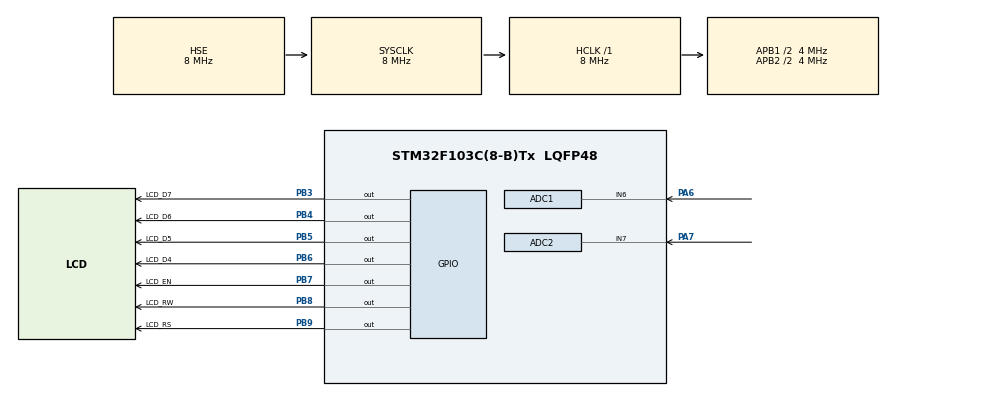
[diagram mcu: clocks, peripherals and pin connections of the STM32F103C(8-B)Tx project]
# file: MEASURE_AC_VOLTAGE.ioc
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ADC1.Channel-0\#ChannelRegularConversion=ADC_CHANNEL_6
ADC1.ContinuousConvMode=ENABLE
ADC1.Mode=ADC_DUALMODE_REGSIMULT
ADC1.NbrOfConversion=1
ADC1.NbrOfConversionFlag=1
ADC1.Rank-0\#ChannelRegularConversion=1
ADC1.SamplingTime-0\#ChannelRegularConversion=ADC_SAMPLETIME_239CYCLES_5
ADC1.master=1
ADC2.Channel-0\#ChannelRegularConversion=ADC_CHANNEL_7
ADC2.ContinuousConvMode=ENABLE
ADC2.Mode=ADC_DUALMODE_REGSIMULT
ADC2.NbrOfConversionFlag=1
ADC2.Rank-0\#ChannelRegularConversion=1
ADC2.SamplingTime-0\#ChannelRegularConversion=ADC_SAMPLETIME_239CYCLES_5
Dma.ADC1.0.Direction=DMA_PERIPH_TO_MEMORY
Dma.ADC1.0.Instance=DMA1_Channel1
Dma.ADC1.0.MemDataAlignment=DMA_MDATAALIGN_WORD
Dma.ADC1.0.MemInc=DMA_MINC_ENABLE
Dma.ADC1.0.Mode=DMA_CIRCULAR
Dma.ADC1.0.PeriphDataAlignment=DMA_PDATAALIGN_WORD
Dma.ADC1.0.PeriphInc=DMA_PINC_DISABLE
Dma.ADC1.0.Priority=DMA_PRIORITY_LOW
Dma.Request0=ADC1
Mcu.Family=STM32F1
Mcu.Name=STM32F103C(8-B)Tx
Mcu.Package=LQFP48
NVIC.DMA1_Channel1_IRQn=true\:0\:0\:false\:false\:true\:false\:true\:true
NVIC.PriorityGroup=NVIC_PRIORITYGROUP_4
NVIC.TIM2_IRQn=true\:0\:0\:false\:false\:true\:true\:true\:true
PA13.Mode=Serial_Wire
PA13.Signal=SYS_JTMS-SWDIO
PA14.Mode=Serial_Wire
PA14.Signal=SYS_JTCK-SWCLK
PA6.Signal=ADCx_IN6
PA7.Signal=ADCx_IN7
PB3.GPIO_Label=LCD_D7
PB3.Signal=GPIO_Output
PB4.GPIO_Label=LCD_D6
PB4.Signal=GPIO_Output
PB5.GPIO_Label=LCD_D5
PB5.Signal=GPIO_Output
PB6.GPIO_Label=LCD_D4
PB6.Signal=GPIO_Output
PB7.GPIO_Label=LCD_EN
PB7.Signal=GPIO_Output
PB8.GPIO_Label=LCD_RW
PB8.Signal=GPIO_Output
PB9.GPIO_Label=LCD_RS
PB9.Signal=GPIO_Output
PD0-OSC_IN.Mode=HSE-External-Oscillator
PD0-OSC_IN.Signal=RCC_OSC_IN
PD1-OSC_OUT.Mode=HSE-External-Oscillator
PD1-OSC_OUT.Signal=RCC_OSC_OUT
ProjectManager.HeapSize=0x200
ProjectManager.StackSize=0x400
ProjectManager.TargetToolchain=STM32CubeIDE
RCC.ADCPresc=RCC_ADCPCLK2_DIV8
RCC.AHBFreq_Value=8000000
RCC.APB1CLKDivider=RCC_HCLK_DIV2
RCC.APB1Freq_Value=4000000
RCC.APB1TimFreq_Value=8000000
RCC.APB2CLKDivider=RCC_HCLK_DIV2
RCC.APB2Freq_Value=4000000
RCC.APB2TimFreq_Value=8000000
RCC.HCLKFreq_Value=8000000
RCC.PLLSourceVirtual=RCC_PLLSOURCE_HSE
RCC.SYSCLKFreq_VALUE=8000000
RCC.SYSCLKSource=RCC_SYSCLKSOURCE_HSE
RCC.USBFreq_Value=16000000
SH.ADCx_IN6.0=ADC1_IN6,IN6
SH.ADCx_IN7.0=ADC2_IN7,IN7
VP_TIM2_VS_ClockSourceINT.Mode=Internal
board=custom

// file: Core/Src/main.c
/* USER CODE BEGIN Header */
/**
  ******************************************************************************
  * @file           : main.c
  * @brief          : Main program body
  ******************************************************************************
  * @attention
  *
  * Copyright (c) 2023 STMicroelectronics.
  * All rights reserved.
  *
  * This software is licensed under terms that can be found in the LICENSE file
  * in the root directory of this software component.
  * If no LICENSE file comes with this software, it is provided AS-IS.
  *
  ******************************************************************************
  */
/* USER CODE END Header */
#include "main.h"

/* USER CODE BEGIN Includes */
#include "LCD.h"
#include "stdio.h"
#include "math.h"
/* USER CODE END Includes */

/* USER CODE BEGIN PD */
#define VOLT_GAIN		2670
#define CURR_GAIN		84.5

#define ADC_CALC		0.000805586 //3.3 / 4096

#define VOLT_OFFSET		1.6915
#define CURR_OFFSET		2.5111

#define SAMPLE			18
#define SUM_VALUE		44
/* USER CODE END PD */

ADC_HandleTypeDef hadc1;
ADC_HandleTypeDef hadc2;
DMA_HandleTypeDef hdma_adc1;

TIM_HandleTypeDef htim2;

/* USER CODE BEGIN PV */
LCD_HandleTypeDef LCD;
LCD_GPIOTypeDef LCD_GPIO;
LCD_SizeTypeDef LCD_Size;
uint32_t adc_value[1];
uint16_t u_t;
uint16_t i_t;

uint8_t is_mili = 0;

float curr_sum = 0;
float volt_sum = 0;
float volt_avg = 0;
float curr_avg = 0;
float Vrms = 0;
float Irms = 0;
float temp_curr = 0;
float temp_volt = 0;

uint8_t sample_count = 0;
uint8_t sum_count = 0;

char lcd_msg[50] = {};
/* USER CODE END PV */

void SystemClock_Config(void);
static void MX_GPIO_Init(void);
static void MX_DMA_Init(void);
static void MX_ADC1_Init(void);
static void MX_ADC2_Init(void);
static void MX_TIM2_Init(void);

/* USER CODE BEGIN 0 */
void HAL_ADC_ConvCpltCallback(ADC_HandleTypeDef* hadc)
{
	u_t = (adc_value[0] >> 16);
	i_t = (adc_value[0] & 0x0000ffff);
//	 sample_count++;
//
//	 volt_sum += (adc_scan_value[1] * ADC_CALC - VOLT_OFFSET);
//	 curr_sum += (adc_scan_value[0] * CALC - CURR_OFFSET);
//
//	 if (sample_count == SAMPLE)
//	 {
//		 sum_count++;
//
//		 volt_sum = volt_sum / SAMPLE;
//		 curr_sum = curr_sum / SAMPLE;
//
//		 volt_avg += (volt_sum * volt_sum);
//		 curr_avg += (curr_sum * curr_sum);
//
//		 sample_count = 0;
//	 }
//	 if (sum_count == SUM_VALUE)
//	 {
//		 temp_curr = sqrt(curr_avg / SUM_VALUE);
//		 temp_volt = sqrt(volt_avg / SUM_VALUE);
//		 Vrms = (sqrt(volt_avg / SUM_VALUE)) * VOLT_GAIN;
//		 Irms = (sqrt(curr_avg / SUM_VALUE)) * CURR_GAIN;
//
//		 sum_count = 0;
//		 sample_count = 0;
//		 volt_sum = 0;
//		 volt_avg = 0;
//		 curr_sum = 0;
//		 curr_avg = 0;
//	 }
}

/* USER CODE END 0 */

int main(void)
{

  /* MCU Configuration--------------------------------------------------------*/

  /* Reset of all peripherals, Initializes the Flash interface and the Systick. */
  HAL_Init();

  /* Configure the system clock */
  SystemClock_Config();

  /* Initialize all configured peripherals */
  MX_GPIO_Init();
  MX_DMA_Init();
  MX_ADC1_Init();
  MX_ADC2_Init();
  MX_TIM2_Init();
  /* USER CODE BEGIN 2 */
  LCD_GPIO.LCD_RS_PIN = LCD_RS_Pin;
  LCD_GPIO.LCD_RW_PIN = LCD_RW_Pin;
  LCD_GPIO.LCD_EN_PIN = LCD_EN_Pin;
  LCD_GPIO.LCD_D4_PIN = LCD_D4_Pin;
  LCD_GPIO.LCD_D5_PIN = LCD_D5_Pin;
  LCD_GPIO.LCD_D6_PIN = LCD_D6_Pin;
  LCD_GPIO.LCD_D7_PIN = LCD_D7_Pin;

  LCD_Size.LCD_column = 16;
  LCD_Size.LCD_row    = 2;

  LCD_Init(&LCD, GPIOB, LCD_GPIO, LCD_Size);
  HAL_ADCEx_Calibration_Start(&hadc1);
  HAL_ADCEx_Calibration_Start(&hadc2);
  HAL_Delay(10);
  HAL_ADC_Start(&hadc2);
  HAL_ADCEx_MultiModeStart_DMA(&hadc1, adc_value, 1);
  /* USER CODE END 2 */

  /* Infinite loop */
  while (1)
  {

    /* USER CODE BEGIN 3 */

	  LCD_SetCursor(&LCD, 0, 0);
	  sprintf(lcd_msg, "Voltage: %03d.%02dV", (uint8_t)Vrms, (uint16_t)(Vrms*100) % 100);
	  LCD_SendString(&LCD, lcd_msg);
	  LCD_SetCursor(&LCD, 0, 1);
	  sprintf(lcd_msg, "Current: %01d.%04dA", (uint8_t)Irms, (uint16_t)(Irms*10000) % 10000);
	  LCD_SendString(&LCD, lcd_msg);
  }
  /* USER CODE END 3 */
}

void SystemClock_Config(void)
{
  RCC_OscInitTypeDef RCC_OscInitStruct = {0};
  RCC_ClkInitTypeDef RCC_ClkInitStruct = {0};
  RCC_PeriphCLKInitTypeDef PeriphClkInit = {0};

  /** Initializes the RCC Oscillators according to the specified parameters
  * in the RCC_OscInitTypeDef structure.
  */
  RCC_OscInitStruct.OscillatorType = RCC_OSCILLATORTYPE_HSE;
  RCC_OscInitStruct.HSEState = RCC_HSE_ON;
  RCC_OscInitStruct.PLL.PLLState = RCC_PLL_NONE;
  if (HAL_RCC_OscConfig(&RCC_OscInitStruct) != HAL_OK)
  {
    Error_Handler();
  }

  /** Initializes the CPU, AHB and APB buses clocks
  */
  RCC_ClkInitStruct.ClockType = RCC_CLOCKTYPE_HCLK|RCC_CLOCKTYPE_SYSCLK
                              |RCC_CLOCKTYPE_PCLK1|RCC_CLOCKTYPE_PCLK2;
  RCC_ClkInitStruct.SYSCLKSource = RCC_SYSCLKSOURCE_HSE;
  RCC_ClkInitStruct.AHBCLKDivider = RCC_SYSCLK_DIV1;
  RCC_ClkInitStruct.APB1CLKDivider = RCC_HCLK_DIV2;
  RCC_ClkInitStruct.APB2CLKDivider = RCC_HCLK_DIV2;

  if (HAL_RCC_ClockConfig(&RCC_ClkInitStruct, FLASH_LATENCY_0) != HAL_OK)
  {
    Error_Handler();
  }
  PeriphClkInit.PeriphClockSelection = RCC_PERIPHCLK_ADC;
  PeriphClkInit.AdcClockSelection = RCC_ADCPCLK2_DIV8;
  if (HAL_RCCEx_PeriphCLKConfig(&PeriphClkInit) != HAL_OK)
  {
    Error_Handler();
  }
}

static void MX_ADC1_Init(void)
{

  ADC_MultiModeTypeDef multimode = {0};
  ADC_ChannelConfTypeDef sConfig = {0};

  /** Common config
  */
  hadc1.Instance = ADC1;
  hadc1.Init.ScanConvMode = ADC_SCAN_DISABLE;
  hadc1.Init.ContinuousConvMode = ENABLE;
  hadc1.Init.DiscontinuousConvMode = DISABLE;
  hadc1.Init.ExternalTrigConv = ADC_SOFTWARE_START;
  hadc1.Init.DataAlign = ADC_DATAALIGN_RIGHT;
  hadc1.Init.NbrOfConversion = 1;
  if (HAL_ADC_Init(&hadc1) != HAL_OK)
  {
    Error_Handler();
  }

  /** Configure the ADC multi-mode
  */
  multimode.Mode = ADC_DUALMODE_REGSIMULT;
  if (HAL_ADCEx_MultiModeConfigChannel(&hadc1, &multimode) != HAL_OK)
  {
    Error_Handler();
  }

  /** Configure Regular Channel
  */
  sConfig.Channel = ADC_CHANNEL_6;
  sConfig.Rank = ADC_REGULAR_RANK_1;
  sConfig.SamplingTime = ADC_SAMPLETIME_239CYCLES_5;
  if (HAL_ADC_ConfigChannel(&hadc1, &sConfig) != HAL_OK)
  {
    Error_Handler();
  }

}

static void MX_ADC2_Init(void)
{

  ADC_ChannelConfTypeDef sConfig = {0};

  /** Common config
  */
  hadc2.Instance = ADC2;
  hadc2.Init.ScanConvMode = ADC_SCAN_DISABLE;
  hadc2.Init.ContinuousConvMode = ENABLE;
  hadc2.Init.DiscontinuousConvMode = DISABLE;
  hadc2.Init.ExternalTrigConv = ADC_SOFTWARE_START;
  hadc2.Init.DataAlign = ADC_DATAALIGN_RIGHT;
  hadc2.Init.NbrOfConversion = 1;
  if (HAL_ADC_Init(&hadc2) != HAL_OK)
  {
    Error_Handler();
  }

  /** Configure Regular Channel
  */
  sConfig.Channel = ADC_CHANNEL_7;
  sConfig.Rank = ADC_REGULAR_RANK_1;
  sConfig.SamplingTime = ADC_SAMPLETIME_239CYCLES_5;
  if (HAL_ADC_ConfigChannel(&hadc2, &sConfig) != HAL_OK)
  {
    Error_Handler();
  }

}

static void MX_TIM2_Init(void)
{

  TIM_ClockConfigTypeDef sClockSourceConfig = {0};
  TIM_MasterConfigTypeDef sMasterConfig = {0};

  htim2.Instance = TIM2;
  htim2.Init.Prescaler = 0;
  htim2.Init.CounterMode = TIM_COUNTERMODE_UP;
  htim2.Init.Period = 65535;
  htim2.Init.ClockDivision = TIM_CLOCKDIVISION_DIV1;
  htim2.Init.AutoReloadPreload = TIM_AUTORELOAD_PRELOAD_DISABLE;
  if (HAL_TIM_Base_Init(&htim2) != HAL_OK)
  {
    Error_Handler();
  }
  sClockSourceConfig.ClockSource = TIM_CLOCKSOURCE_INTERNAL;
  if (HAL_TIM_ConfigClockSource(&htim2, &sClockSourceConfig) != HAL_OK)
  {
    Error_Handler();
  }
  sMasterConfig.MasterOutputTrigger = TIM_TRGO_RESET;
  sMasterConfig.MasterSlaveMode = TIM_MASTERSLAVEMODE_DISABLE;
  if (HAL_TIMEx_MasterConfigSynchronization(&htim2, &sMasterConfig) != HAL_OK)
  {
    Error_Handler();
  }

}

static void MX_DMA_Init(void)
{

  /* DMA controller clock enable */
  __HAL_RCC_DMA1_CLK_ENABLE();

  /* DMA interrupt init */
  /* DMA1_Channel1_IRQn interrupt configuration */
  HAL_NVIC_SetPriority(DMA1_Channel1_IRQn, 0, 0);
  HAL_NVIC_EnableIRQ(DMA1_Channel1_IRQn);

}

static void MX_GPIO_Init(void)
{
  GPIO_InitTypeDef GPIO_InitStruct = {0};

  /* GPIO Ports Clock Enable */
  __HAL_RCC_GPIOD_CLK_ENABLE();
  __HAL_RCC_GPIOA_CLK_ENABLE();
  __HAL_RCC_GPIOB_CLK_ENABLE();

  /*Configure GPIO pin Output Level */
  HAL_GPIO_WritePin(GPIOB, LCD_D7_Pin|LCD_D6_Pin|LCD_D5_Pin|LCD_D4_Pin
                          |LCD_EN_Pin|LCD_RW_Pin|LCD_RS_Pin, GPIO_PIN_RESET);

  /*Configure GPIO pins : LCD_D7_Pin LCD_D6_Pin LCD_D5_Pin LCD_D4_Pin
                           LCD_EN_Pin LCD_RW_Pin LCD_RS_Pin */
  GPIO_InitStruct.Pin = LCD_D7_Pin|LCD_D6_Pin|LCD_D5_Pin|LCD_D4_Pin
                          |LCD_EN_Pin|LCD_RW_Pin|LCD_RS_Pin;
  GPIO_InitStruct.Mode = GPIO_MODE_OUTPUT_PP;
  GPIO_InitStruct.Pull = GPIO_NOPULL;
  GPIO_InitStruct.Speed = GPIO_SPEED_FREQ_LOW;
  HAL_GPIO_Init(GPIOB, &GPIO_InitStruct);

}

void Error_Handler(void)
{
  __disable_irq();
  while (1)
  {
  }
}
